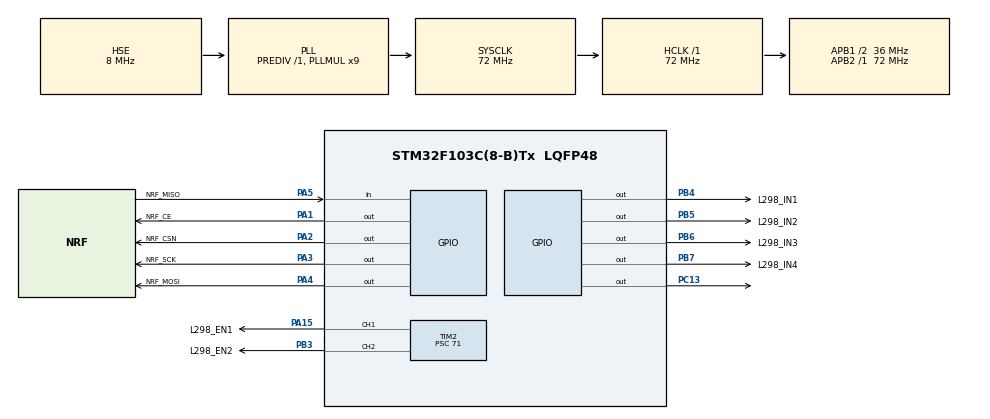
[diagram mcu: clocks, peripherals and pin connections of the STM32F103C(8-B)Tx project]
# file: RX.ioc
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Mcu.Family=STM32F1
Mcu.Name=STM32F103C(8-B)Tx
Mcu.Package=LQFP48
NVIC.PriorityGroup=NVIC_PRIORITYGROUP_4
PA1.GPIO_Label=NRF_CE
PA1.GPIO_Speed=GPIO_SPEED_FREQ_HIGH
PA1.Signal=GPIO_Output
PA13.Mode=Serial_Wire
PA13.Signal=SYS_JTMS-SWDIO
PA14.Mode=Serial_Wire
PA14.Signal=SYS_JTCK-SWCLK
PA15.GPIO_Label=L298_EN1
PA15.Signal=S_TIM2_CH1_ETR
PA2.GPIO_Label=NRF_CSN
PA2.GPIO_Speed=GPIO_SPEED_FREQ_HIGH
PA2.Signal=GPIO_Output
PA3.GPIO_Label=NRF_SCK
PA3.GPIO_Speed=GPIO_SPEED_FREQ_HIGH
PA3.Signal=GPIO_Output
PA4.GPIO_Label=NRF_MOSI
PA4.GPIO_Speed=GPIO_SPEED_FREQ_HIGH
PA4.Signal=GPIO_Output
PA5.GPIO_Label=NRF_MISO
PA5.Signal=GPIO_Input
PB3.GPIO_Label=L298_EN2
PB3.Signal=S_TIM2_CH2
PB4.GPIO_Label=L298_IN1
PB4.Signal=GPIO_Output
PB5.GPIO_Label=L298_IN2
PB5.Signal=GPIO_Output
PB6.GPIO_Label=L298_IN3
PB6.Signal=GPIO_Output
PB7.GPIO_Label=L298_IN4
PB7.Signal=GPIO_Output
PC13-TAMPER-RTC.Signal=GPIO_Output
PD0-OSC_IN.Mode=HSE-External-Oscillator
PD0-OSC_IN.Signal=RCC_OSC_IN
PD1-OSC_OUT.Mode=HSE-External-Oscillator
PD1-OSC_OUT.Signal=RCC_OSC_OUT
ProjectManager.HeapSize=0x200
ProjectManager.StackSize=0x400
ProjectManager.TargetToolchain=MDK-ARM V5.32
RCC.AHBFreq_Value=72000000
RCC.APB1CLKDivider=RCC_HCLK_DIV2
RCC.APB1Freq_Value=36000000
RCC.APB1TimFreq_Value=72000000
RCC.APB2Freq_Value=72000000
RCC.APB2TimFreq_Value=72000000
RCC.HCLKFreq_Value=72000000
RCC.PLLMUL=RCC_PLL_MUL9
RCC.PLLSourceVirtual=RCC_PLLSOURCE_HSE
RCC.SYSCLKFreq_VALUE=72000000
RCC.SYSCLKSource=RCC_SYSCLKSOURCE_PLLCLK
RCC.USBFreq_Value=72000000
SH.S_TIM2_CH1_ETR.0=TIM2_CH1,PWM Generation1 CH1
SH.S_TIM2_CH2.0=TIM2_CH2,PWM Generation2 CH2
TIM2.Channel-PWM\ Generation1\ CH1=TIM_CHANNEL_1
TIM2.Channel-PWM\ Generation2\ CH2=TIM_CHANNEL_2
TIM2.Period=999
TIM2.Prescaler=71
board=MACHTHU_NRF24L01New

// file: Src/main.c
/* USER CODE BEGIN Header */
/**
  ******************************************************************************
  * @file           : main.c
  * @brief          : Main program body
  ******************************************************************************
  * @attention
  *
  * Copyright (c) 2023 STMicroelectronics.
  * All rights reserved.
  *
  * This software is licensed under terms that can be found in the LICENSE file
  * in the root directory of this software component.
  * If no LICENSE file comes with this software, it is provided AS-IS.
  *
  ******************************************************************************
  */
/* USER CODE END Header */
#include "main.h"

/* USER CODE BEGIN Includes */
#include "NRF24L01.h"
/* USER CODE END Includes */

TIM_HandleTypeDef htim2;

void SystemClock_Config(void);
static void MX_GPIO_Init(void);
static void MX_TIM2_Init(void);

/* USER CODE BEGIN 0 */
//NRF
uint8_t RXBUFF[10];
uint16_t readValue_X = 2000;
uint16_t readValue_Y = 2000;
uint8_t flag=1;
//L298
uint16_t EN1_Value = 0;
uint16_t EN2_Value = 0;
/* USER CODE END 0 */

int main(void)
{

  /* MCU Configuration--------------------------------------------------------*/

  /* Reset of all peripherals, Initializes the Flash interface and the Systick. */
  HAL_Init();

  /* Configure the system clock */
  SystemClock_Config();

  /* Initialize all configured peripherals */
  MX_GPIO_Init();
  MX_TIM2_Init();
  /* USER CODE BEGIN 2 */
	//NRF24L01
	NRF24_Init();
	NRF24_SetRX();

	//L298
	HAL_GPIO_WritePin(GPIOB, L298_IN1_Pin, GPIO_PIN_RESET); //IN1
	HAL_GPIO_WritePin(GPIOB, L298_IN2_Pin, GPIO_PIN_SET); //IN2
	HAL_GPIO_WritePin(GPIOB, L298_IN3_Pin, GPIO_PIN_RESET); //IN3
	HAL_GPIO_WritePin(GPIOB, L298_IN4_Pin, GPIO_PIN_SET); //IN4
	HAL_TIM_PWM_Start(&htim2, TIM_CHANNEL_1); //EN1
	HAL_TIM_PWM_Start(&htim2, TIM_CHANNEL_2); //EN2

	__HAL_TIM_SetCompare(&htim2,TIM_CHANNEL_1, 0);
	__HAL_TIM_SetCompare(&htim2,TIM_CHANNEL_2, 0);
  /* USER CODE END 2 */

  /* Infinite loop */
  /* USER CODE BEGIN WHILE */
  while (1)
  {
		if(flag == 1){
			if (NRF24_Receive(RXBUFF) == 1)
			{
				HAL_GPIO_TogglePin(GPIOC, GPIO_PIN_13);
				NRF24_SetRX();

				readValue_X = ( (RXBUFF[0]-48)*1000 + (RXBUFF[1]-48)*100 + (RXBUFF[2]-48)*10 + (RXBUFF[3]-48) );
				readValue_Y = ( (RXBUFF[4]-48)*1000 + (RXBUFF[5]-48)*100 + (RXBUFF[6]-48)*10 + (RXBUFF[7]-48) );

				flag =2;
			}
			else
			{
				readValue_X = 2000;
				readValue_Y = 2000;
			}
		}

		if(flag == 2){
			//forward
			if(readValue_X < 1900)
			{
				HAL_GPIO_WritePin(GPIOB, L298_IN1_Pin, GPIO_PIN_RESET);
				HAL_GPIO_WritePin(GPIOB, L298_IN2_Pin, GPIO_PIN_SET);

				HAL_GPIO_WritePin(GPIOB, L298_IN3_Pin, GPIO_PIN_RESET);
				HAL_GPIO_WritePin(GPIOB, L298_IN4_Pin, GPIO_PIN_SET);

				EN1_Value = ((readValue_X - 1900) * 1000)/(0 - 1900);
				EN2_Value = ((readValue_X - 1900) * 1000)/(0 - 1900);
			}

			//backward
			else if(readValue_X > 2100)
			{
				HAL_GPIO_WritePin(GPIOB, L298_IN1_Pin, GPIO_PIN_SET);
				HAL_GPIO_WritePin(GPIOB, L298_IN2_Pin, GPIO_PIN_RESET);

				HAL_GPIO_WritePin(GPIOB, L298_IN3_Pin, GPIO_PIN_SET);
				HAL_GPIO_WritePin(GPIOB, L298_IN4_Pin, GPIO_PIN_RESET);

				EN1_Value = ((readValue_X - 2100) * 1000)/(4095 - 2100);
				EN2_Value = ((readValue_X - 2100) * 1000)/(4095 - 2100);
			}
			else
			{
				EN1_Value = 0;
				EN2_Value = 0;
			}

			if(EN1_Value < 300)
			{
				EN1_Value = 0;
			}
			if(EN2_Value < 300)
			{
				EN2_Value = 0;
			}

			__HAL_TIM_SetCompare(&htim2,TIM_CHANNEL_1, EN1_Value);
			__HAL_TIM_SetCompare(&htim2,TIM_CHANNEL_2, EN2_Value);

			flag = 1;
		}
    /* USER CODE END WHILE */

  }
}

void SystemClock_Config(void)
{
  RCC_OscInitTypeDef RCC_OscInitStruct = {0};
  RCC_ClkInitTypeDef RCC_ClkInitStruct = {0};

  /** Initializes the RCC Oscillators according to the specified parameters
  * in the RCC_OscInitTypeDef structure.
  */
  RCC_OscInitStruct.OscillatorType = RCC_OSCILLATORTYPE_HSE;
  RCC_OscInitStruct.HSEState = RCC_HSE_ON;
  RCC_OscInitStruct.HSEPredivValue = RCC_HSE_PREDIV_DIV1;
  RCC_OscInitStruct.HSIState = RCC_HSI_ON;
  RCC_OscInitStruct.PLL.PLLState = RCC_PLL_ON;
  RCC_OscInitStruct.PLL.PLLSource = RCC_PLLSOURCE_HSE;
  RCC_OscInitStruct.PLL.PLLMUL = RCC_PLL_MUL9;
  if (HAL_RCC_OscConfig(&RCC_OscInitStruct) != HAL_OK)
  {
    Error_Handler();
  }

  /** Initializes the CPU, AHB and APB buses clocks
  */
  RCC_ClkInitStruct.ClockType = RCC_CLOCKTYPE_HCLK|RCC_CLOCKTYPE_SYSCLK
                              |RCC_CLOCKTYPE_PCLK1|RCC_CLOCKTYPE_PCLK2;
  RCC_ClkInitStruct.SYSCLKSource = RCC_SYSCLKSOURCE_PLLCLK;
  RCC_ClkInitStruct.AHBCLKDivider = RCC_SYSCLK_DIV1;
  RCC_ClkInitStruct.APB1CLKDivider = RCC_HCLK_DIV2;
  RCC_ClkInitStruct.APB2CLKDivider = RCC_HCLK_DIV1;

  if (HAL_RCC_ClockConfig(&RCC_ClkInitStruct, FLASH_LATENCY_2) != HAL_OK)
  {
    Error_Handler();
  }
}

static void MX_TIM2_Init(void)
{

  TIM_MasterConfigTypeDef sMasterConfig = {0};
  TIM_OC_InitTypeDef sConfigOC = {0};

  htim2.Instance = TIM2;
  htim2.Init.Prescaler = 71;
  htim2.Init.CounterMode = TIM_COUNTERMODE_UP;
  htim2.Init.Period = 999;
  htim2.Init.ClockDivision = TIM_CLOCKDIVISION_DIV1;
  htim2.Init.AutoReloadPreload = TIM_AUTORELOAD_PRELOAD_DISABLE;
  if (HAL_TIM_PWM_Init(&htim2) != HAL_OK)
  {
    Error_Handler();
  }
  sMasterConfig.MasterOutputTrigger = TIM_TRGO_RESET;
  sMasterConfig.MasterSlaveMode = TIM_MASTERSLAVEMODE_DISABLE;
  if (HAL_TIMEx_MasterConfigSynchronization(&htim2, &sMasterConfig) != HAL_OK)
  {
    Error_Handler();
  }
  sConfigOC.OCMode = TIM_OCMODE_PWM1;
  sConfigOC.Pulse = 0;
  sConfigOC.OCPolarity = TIM_OCPOLARITY_HIGH;
  sConfigOC.OCFastMode = TIM_OCFAST_DISABLE;
  if (HAL_TIM_PWM_ConfigChannel(&htim2, &sConfigOC, TIM_CHANNEL_1) != HAL_OK)
  {
    Error_Handler();
  }
  if (HAL_TIM_PWM_ConfigChannel(&htim2, &sConfigOC, TIM_CHANNEL_2) != HAL_OK)
  {
    Error_Handler();
  }
  HAL_TIM_MspPostInit(&htim2);

}

static void MX_GPIO_Init(void)
{
  GPIO_InitTypeDef GPIO_InitStruct = {0};

  /* GPIO Ports Clock Enable */
  __HAL_RCC_GPIOC_CLK_ENABLE();
  __HAL_RCC_GPIOD_CLK_ENABLE();
  __HAL_RCC_GPIOA_CLK_ENABLE();
  __HAL_RCC_GPIOB_CLK_ENABLE();

  /*Configure GPIO pin Output Level */
  HAL_GPIO_WritePin(GPIOC, GPIO_PIN_13, GPIO_PIN_RESET);

  /*Configure GPIO pin Output Level */
  HAL_GPIO_WritePin(GPIOA, NRF_CE_Pin|NRF_CSN_Pin|NRF_SCK_Pin|NRF_MOSI_Pin, GPIO_PIN_RESET);

  /*Configure GPIO pin Output Level */
  HAL_GPIO_WritePin(GPIOB, L298_IN1_Pin|L298_IN2_Pin|L298_IN3_Pin|L298_IN4_Pin, GPIO_PIN_RESET);

  /*Configure GPIO pin : PC13 */
  GPIO_InitStruct.Pin = GPIO_PIN_13;
  GPIO_InitStruct.Mode = GPIO_MODE_OUTPUT_PP;
  GPIO_InitStruct.Pull = GPIO_NOPULL;
  GPIO_InitStruct.Speed = GPIO_SPEED_FREQ_LOW;
  HAL_GPIO_Init(GPIOC, &GPIO_InitStruct);

  /*Configure GPIO pins : NRF_CE_Pin NRF_CSN_Pin NRF_SCK_Pin NRF_MOSI_Pin */
  GPIO_InitStruct.Pin = NRF_CE_Pin|NRF_CSN_Pin|NRF_SCK_Pin|NRF_MOSI_Pin;
  GPIO_InitStruct.Mode = GPIO_MODE_OUTPUT_PP;
  GPIO_InitStruct.Pull = GPIO_NOPULL;
  GPIO_InitStruct.Speed = GPIO_SPEED_FREQ_HIGH;
  HAL_GPIO_Init(GPIOA, &GPIO_InitStruct);

  /*Configure GPIO pin : NRF_MISO_Pin */
  GPIO_InitStruct.Pin = NRF_MISO_Pin;
  GPIO_InitStruct.Mode = GPIO_MODE_INPUT;
  GPIO_InitStruct.Pull = GPIO_NOPULL;
  HAL_GPIO_Init(NRF_MISO_GPIO_Port, &GPIO_InitStruct);

  /*Configure GPIO pins : L298_IN1_Pin L298_IN2_Pin L298_IN3_Pin L298_IN4_Pin */
  GPIO_InitStruct.Pin = L298_IN1_Pin|L298_IN2_Pin|L298_IN3_Pin|L298_IN4_Pin;
  GPIO_InitStruct.Mode = GPIO_MODE_OUTPUT_PP;
  GPIO_InitStruct.Pull = GPIO_NOPULL;
  GPIO_InitStruct.Speed = GPIO_SPEED_FREQ_LOW;
  HAL_GPIO_Init(GPIOB, &GPIO_InitStruct);

}

void Error_Handler(void)
{
  __disable_irq();
  while (1)
  {
  }
}
